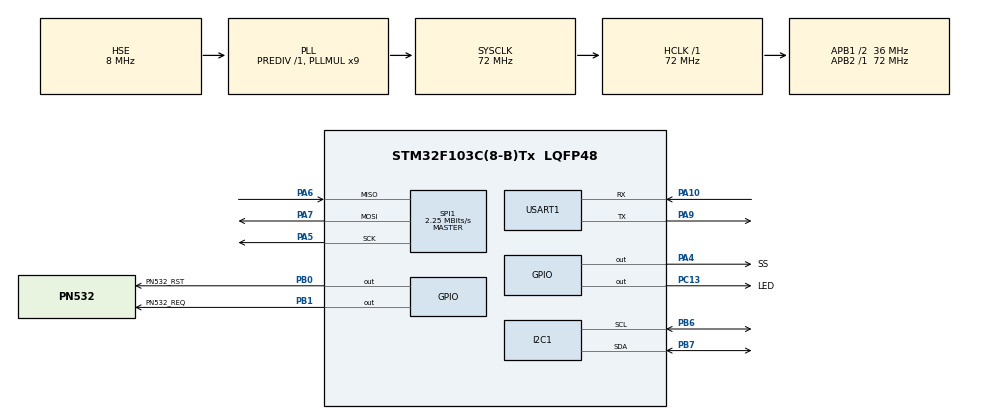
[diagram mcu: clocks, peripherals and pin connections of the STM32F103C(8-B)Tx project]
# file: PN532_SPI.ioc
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Mcu.Family=STM32F1
Mcu.Name=STM32F103C(8-B)Tx
Mcu.Package=LQFP48
NVIC.I2C1_ER_IRQn=true\:0\:0\:false\:false\:true\:true\:true\:true
NVIC.I2C1_EV_IRQn=true\:0\:0\:false\:false\:true\:true\:true\:true
NVIC.PriorityGroup=NVIC_PRIORITYGROUP_4
NVIC.SPI1_IRQn=true\:0\:0\:false\:false\:true\:true\:true\:true
NVIC.USART1_IRQn=true\:0\:0\:false\:false\:true\:true\:true\:true
PA10.Mode=Asynchronous
PA10.Signal=USART1_RX
PA13.Mode=Serial_Wire
PA13.Signal=SYS_JTMS-SWDIO
PA14.Mode=Serial_Wire
PA14.Signal=SYS_JTCK-SWCLK
PA4.GPIO_Label=SS
PA4.GPIO_PuPd=GPIO_PULLUP
PA4.GPIO_Speed=GPIO_SPEED_FREQ_HIGH
PA4.PinState=GPIO_PIN_RESET
PA4.Signal=GPIO_Output
PA5.Mode=Full_Duplex_Master
PA5.Signal=SPI1_SCK
PA6.Mode=Full_Duplex_Master
PA6.Signal=SPI1_MISO
PA7.Mode=Full_Duplex_Master
PA7.Signal=SPI1_MOSI
PA9.Mode=Asynchronous
PA9.Signal=USART1_TX
PB0.GPIO_Label=PN532_RST
PB0.GPIO_Speed=GPIO_SPEED_FREQ_HIGH
PB0.PinState=GPIO_PIN_SET
PB0.Signal=GPIO_Output
PB1.GPIO_Label=PN532_REQ
PB1.GPIO_Speed=GPIO_SPEED_FREQ_HIGH
PB1.PinState=GPIO_PIN_SET
PB1.Signal=GPIO_Output
PB6.Mode=I2C
PB6.Signal=I2C1_SCL
PB7.Mode=I2C
PB7.Signal=I2C1_SDA
PC13-TAMPER-RTC.GPIO_Label=LED
PC13-TAMPER-RTC.GPIO_Speed=GPIO_SPEED_FREQ_HIGH
PC13-TAMPER-RTC.PinState=GPIO_PIN_SET
PC13-TAMPER-RTC.Signal=GPIO_Output
PD0-OSC_IN.Mode=HSE-External-Oscillator
PD0-OSC_IN.Signal=RCC_OSC_IN
PD1-OSC_OUT.Mode=HSE-External-Oscillator
PD1-OSC_OUT.Signal=RCC_OSC_OUT
ProjectManager.HeapSize=0x200
ProjectManager.StackSize=0x400
ProjectManager.TargetToolchain=STM32CubeIDE
RCC.AHBFreq_Value=72000000
RCC.APB1CLKDivider=RCC_HCLK_DIV2
RCC.APB1Freq_Value=36000000
RCC.APB1TimFreq_Value=72000000
RCC.APB2Freq_Value=72000000
RCC.APB2TimFreq_Value=72000000
RCC.HCLKFreq_Value=72000000
RCC.PLLMUL=RCC_PLL_MUL9
RCC.PLLSourceVirtual=RCC_PLLSOURCE_HSE
RCC.SYSCLKFreq_VALUE=72000000
RCC.SYSCLKSource=RCC_SYSCLKSOURCE_PLLCLK
RCC.USBFreq_Value=72000000
SPI1.BaudRatePrescaler=SPI_BAUDRATEPRESCALER_32
SPI1.CalculateBaudRate=2.25 MBits/s
SPI1.Direction=SPI_DIRECTION_2LINES
SPI1.FirstBit=SPI_FIRSTBIT_LSB
SPI1.Mode=SPI_MODE_MASTER
SPI1.VirtualType=VM_MASTER
USART1.VirtualMode=VM_ASYNC
board=custom

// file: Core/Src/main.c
/* USER CODE BEGIN Header */
/**
  ******************************************************************************
  * @file           : main.c
  * @brief          : Main program body
  ******************************************************************************
  * @attention
  *
  * Copyright (c) 2025 STMicroelectronics.
  * All rights reserved.
  *
  * This software is licensed under terms that can be found in the LICENSE file
  * in the root directory of this software component.
  * If no LICENSE file comes with this software, it is provided AS-IS.
  *
  ******************************************************************************
  */
/* USER CODE END Header */
#include "main.h"

/* USER CODE BEGIN Includes */
#include "pn532_stm32f1.h"
#include "pn532.h"
#include "stdio.h"
#include "string.h"
/* USER CODE END Includes */

/* USER CODE BEGIN PTD */
  uint8_t buff[255];
  uint8_t uid[MIFARE_UID_MAX_LENGTH];
  int32_t uid_len = 0;
  uint8_t data[20];
  uint8_t CARDID[5];
/* USER CODE END PTD */

I2C_HandleTypeDef hi2c1;

SPI_HandleTypeDef hspi1;

UART_HandleTypeDef huart1;

/* USER CODE BEGIN PV */
PN532 pn532;
/* USER CODE END PV */

void SystemClock_Config(void);
static void MX_GPIO_Init(void);
static void MX_SPI1_Init(void);
static void MX_USART1_UART_Init(void);
static void MX_I2C1_Init(void);

int main(void)
{

  /* MCU Configuration--------------------------------------------------------*/

  /* Reset of all peripherals, Initializes the Flash interface and the Systick. */
  HAL_Init();

  /* Configure the system clock */
  SystemClock_Config();

  /* Initialize all configured peripherals */
  MX_GPIO_Init();
  MX_SPI1_Init();
  MX_USART1_UART_Init();
  MX_I2C1_Init();
  /* USER CODE BEGIN 2 */
    PN532_SPI_Init(&pn532);

    PN532_GetFirmwareVersion(&pn532, buff);
    if (PN532_GetFirmwareVersion(&pn532, buff) == PN532_STATUS_OK) {
      printf("Found PN532 with firmware version: %d.%d\r\n", buff[1], buff[2]);
    } else {
      return -1;
    }
    PN532_SamConfiguration(&pn532);
    printf("Waiting for RFID/NFC card...\r\n");
  /* USER CODE END 2 */

  /* Infinite loop */
  while (1)
  {

    /* USER CODE BEGIN 3 */
	  uid_len = PN532_ReadPassiveTarget(&pn532, uid, PN532_MIFARE_ISO14443A, 1000);
	      if (uid_len == PN532_STATUS_ERROR) {
	        printf(".");
	      } else {
	        printf("Found card with UID: ");
	        for (uint8_t i = 0; i < uid_len; i++) {
	          printf("%02x ", uid[i]);
	        }
	        printf("\r\n");
	      }

	      	  memcpy(CARDID, uid , 5);
	      	  if((CARDID[0]==172) && (CARDID[1]==44) && (CARDID[2]==5) && (CARDID[3]==4))
	      	  {
	      		  HAL_GPIO_TogglePin(GPIOC, GPIO_PIN_13); // nhay led tren chan 13
	      		  HAL_Delay(100);
	      	  }
	      	  else if((CARDID[0]==131) && (CARDID[1]==43) && (CARDID[2]==201) && (CARDID[3]==1))
	      	  {
	      		  HAL_GPIO_TogglePin(GPIOC, GPIO_PIN_13); // nhay led tren chan 13
	      		  HAL_Delay(1000);
	      	  }
	      	  else
	      	  {
	      	      HAL_GPIO_WritePin(GPIOC, GPIO_PIN_13, GPIO_PIN_SET);

	      	  }

  }
  /* USER CODE END 3 */
}

void SystemClock_Config(void)
{
  RCC_OscInitTypeDef RCC_OscInitStruct = {0};
  RCC_ClkInitTypeDef RCC_ClkInitStruct = {0};

  /** Initializes the RCC Oscillators according to the specified parameters
  * in the RCC_OscInitTypeDef structure.
  */
  RCC_OscInitStruct.OscillatorType = RCC_OSCILLATORTYPE_HSE;
  RCC_OscInitStruct.HSEState = RCC_HSE_ON;
  RCC_OscInitStruct.HSEPredivValue = RCC_HSE_PREDIV_DIV1;
  RCC_OscInitStruct.HSIState = RCC_HSI_ON;
  RCC_OscInitStruct.PLL.PLLState = RCC_PLL_ON;
  RCC_OscInitStruct.PLL.PLLSource = RCC_PLLSOURCE_HSE;
  RCC_OscInitStruct.PLL.PLLMUL = RCC_PLL_MUL9;
  if (HAL_RCC_OscConfig(&RCC_OscInitStruct) != HAL_OK)
  {
    Error_Handler();
  }

  /** Initializes the CPU, AHB and APB buses clocks
  */
  RCC_ClkInitStruct.ClockType = RCC_CLOCKTYPE_HCLK|RCC_CLOCKTYPE_SYSCLK
                              |RCC_CLOCKTYPE_PCLK1|RCC_CLOCKTYPE_PCLK2;
  RCC_ClkInitStruct.SYSCLKSource = RCC_SYSCLKSOURCE_PLLCLK;
  RCC_ClkInitStruct.AHBCLKDivider = RCC_SYSCLK_DIV1;
  RCC_ClkInitStruct.APB1CLKDivider = RCC_HCLK_DIV2;
  RCC_ClkInitStruct.APB2CLKDivider = RCC_HCLK_DIV1;

  if (HAL_RCC_ClockConfig(&RCC_ClkInitStruct, FLASH_LATENCY_2) != HAL_OK)
  {
    Error_Handler();
  }
}

static void MX_I2C1_Init(void)
{

  hi2c1.Instance = I2C1;
  hi2c1.Init.ClockSpeed = 100000;
  hi2c1.Init.DutyCycle = I2C_DUTYCYCLE_2;
  hi2c1.Init.OwnAddress1 = 0;
  hi2c1.Init.AddressingMode = I2C_ADDRESSINGMODE_7BIT;
  hi2c1.Init.DualAddressMode = I2C_DUALADDRESS_DISABLE;
  hi2c1.Init.OwnAddress2 = 0;
  hi2c1.Init.GeneralCallMode = I2C_GENERALCALL_DISABLE;
  hi2c1.Init.NoStretchMode = I2C_NOSTRETCH_DISABLE;
  if (HAL_I2C_Init(&hi2c1) != HAL_OK)
  {
    Error_Handler();
  }

}

static void MX_SPI1_Init(void)
{

  /* SPI1 parameter configuration*/
  hspi1.Instance = SPI1;
  hspi1.Init.Mode = SPI_MODE_MASTER;
  hspi1.Init.Direction = SPI_DIRECTION_2LINES;
  hspi1.Init.DataSize = SPI_DATASIZE_8BIT;
  hspi1.Init.CLKPolarity = SPI_POLARITY_LOW;
  hspi1.Init.CLKPhase = SPI_PHASE_1EDGE;
  hspi1.Init.NSS = SPI_NSS_SOFT;
  hspi1.Init.BaudRatePrescaler = SPI_BAUDRATEPRESCALER_32;
  hspi1.Init.FirstBit = SPI_FIRSTBIT_LSB;
  hspi1.Init.TIMode = SPI_TIMODE_DISABLE;
  hspi1.Init.CRCCalculation = SPI_CRCCALCULATION_DISABLE;
  hspi1.Init.CRCPolynomial = 10;
  if (HAL_SPI_Init(&hspi1) != HAL_OK)
  {
    Error_Handler();
  }

}

static void MX_USART1_UART_Init(void)
{

  huart1.Instance = USART1;
  huart1.Init.BaudRate = 115200;
  huart1.Init.WordLength = UART_WORDLENGTH_8B;
  huart1.Init.StopBits = UART_STOPBITS_1;
  huart1.Init.Parity = UART_PARITY_NONE;
  huart1.Init.Mode = UART_MODE_TX_RX;
  huart1.Init.HwFlowCtl = UART_HWCONTROL_NONE;
  huart1.Init.OverSampling = UART_OVERSAMPLING_16;
  if (HAL_UART_Init(&huart1) != HAL_OK)
  {
    Error_Handler();
  }

}

static void MX_GPIO_Init(void)
{
  GPIO_InitTypeDef GPIO_InitStruct = {0};

  /* GPIO Ports Clock Enable */
  __HAL_RCC_GPIOC_CLK_ENABLE();
  __HAL_RCC_GPIOD_CLK_ENABLE();
  __HAL_RCC_GPIOA_CLK_ENABLE();
  __HAL_RCC_GPIOB_CLK_ENABLE();

  /*Configure GPIO pin Output Level */
  HAL_GPIO_WritePin(LED_GPIO_Port, LED_Pin, GPIO_PIN_SET);

  /*Configure GPIO pin Output Level */
  HAL_GPIO_WritePin(SS_GPIO_Port, SS_Pin, GPIO_PIN_RESET);

  /*Configure GPIO pin Output Level */
  HAL_GPIO_WritePin(GPIOB, PN532_RST_Pin|PN532_REQ_Pin, GPIO_PIN_SET);

  /*Configure GPIO pin : LED_Pin */
  GPIO_InitStruct.Pin = LED_Pin;
  GPIO_InitStruct.Mode = GPIO_MODE_OUTPUT_PP;
  GPIO_InitStruct.Pull = GPIO_NOPULL;
  GPIO_InitStruct.Speed = GPIO_SPEED_FREQ_HIGH;
  HAL_GPIO_Init(LED_GPIO_Port, &GPIO_InitStruct);

  /*Configure GPIO pin : SS_Pin */
  GPIO_InitStruct.Pin = SS_Pin;
  GPIO_InitStruct.Mode = GPIO_MODE_OUTPUT_PP;
  GPIO_InitStruct.Pull = GPIO_PULLUP;
  GPIO_InitStruct.Speed = GPIO_SPEED_FREQ_HIGH;
  HAL_GPIO_Init(SS_GPIO_Port, &GPIO_InitStruct);

  /*Configure GPIO pins : PN532_RST_Pin PN532_REQ_Pin */
  GPIO_InitStruct.Pin = PN532_RST_Pin|PN532_REQ_Pin;
  GPIO_InitStruct.Mode = GPIO_MODE_OUTPUT_PP;
  GPIO_InitStruct.Pull = GPIO_NOPULL;
  GPIO_InitStruct.Speed = GPIO_SPEED_FREQ_HIGH;
  HAL_GPIO_Init(GPIOB, &GPIO_InitStruct);

}

/* USER CODE BEGIN 4 */
#ifdef __GNUC__
  /* With GCC/RAISONANCE, small printf (option LD Linker->Libraries->Small printf
     set to 'Yes') calls __io_putchar() */
  #define PUTCHAR_PROTOTYPE int __io_putchar(int ch)
#else
  #define PUTCHAR_PROTOTYPE int fputc(int ch, FILE *f)
#endif /* __GNUC__ */
/**
  * @brief  Retargets the C library printf function to the USART.
  * @param  None
  * @retval None
  */
PUTCHAR_PROTOTYPE
{
  /* Place your implementation of fputc here */
  /* e.g. write a character to the EVAL_COM1 and Loop until the end of transmission */
  HAL_UART_Transmit(&huart1, (uint8_t *)&ch, 1, 0xFFFF);

  return ch;
}

/* USER CODE END 4 */

void Error_Handler(void)
{
  __disable_irq();
  while (1)
  {
  }
}
